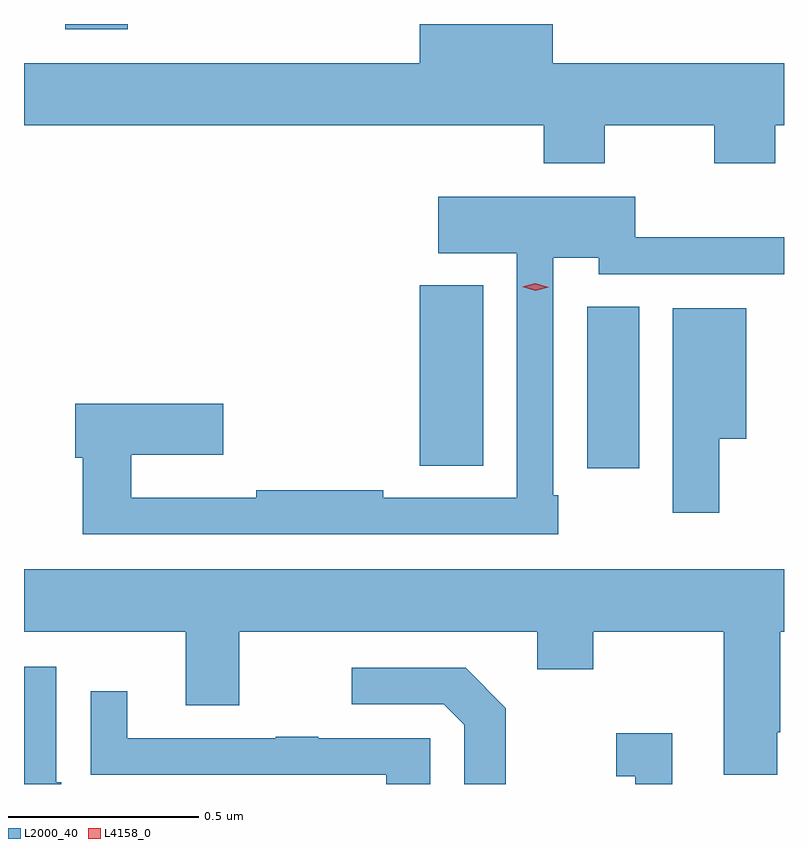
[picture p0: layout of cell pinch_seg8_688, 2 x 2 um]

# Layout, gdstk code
import gdstk
lib = gdstk.Library(unit=1e-6, precision=1e-09)
def R(c, l, rs):  # rectangles x0, y0, x1, y1
    for r in rs: c.add(gdstk.rectangle(r[:2], r[2:], *l))
def P(c, l, *ps):  # polygons
    for p in ps: c.add(gdstk.Polygon(p, *l))
L2000_40 = (2000, 40)
L4158_0 = (4158, 0)

pinch_seg8_688 = lib.new_cell('pinch_seg8_688')
R(pinch_seg8_688, L2000_40, [(247.943,1108.938,248.08,1109.363), (247.502,1108.945,247.669,1109.419), (246.569,1110.093,246.734,1110.107)])
P(pinch_seg8_688, L2000_40, [(247.989,1109.84),(248.278,1109.84),(248.278,1109.741),(248.438,1109.741),(248.438,1109.84),(248.461,1109.84),(248.461,1110.004),(247.852,1110.004),(247.852,1110.107),(247.502,1110.107),(247.502,1110.004),(246.461,1110.004),(246.461,1109.84),(247.829,1109.84),(247.829,1109.741),(247.989,1109.741)],
  [(247.867,1108.867),(247.854,1108.867),(247.854,1109.492),(247.974,1109.492),(247.974,1109.448),(248.461,1109.448),(248.461,1109.546),(248.07,1109.546),(248.07,1109.653),(247.551,1109.653),(247.551,1109.504),(247.758,1109.504),(247.758,1108.86),(247.406,1108.86),(247.406,1108.88),(247.072,1108.88),(247.072,1108.86),(246.743,1108.86),(246.743,1108.973),(246.985,1108.973),(246.985,1109.108),(246.596,1109.108),(246.596,1108.966),(246.615,1108.966),(246.615,1108.764),(247.867,1108.764)],
  [(248.29,1109.015),(248.362,1109.015),(248.362,1109.359),(248.168,1109.359),(248.168,1108.821),(248.29,1108.821)],
  [(248.443,1108.243),(248.451,1108.243),(248.451,1108.508),(248.461,1108.508),(248.461,1108.672),(246.461,1108.672),(246.461,1108.508),(246.887,1108.508),(246.887,1108.314),(247.027,1108.314),(247.027,1108.508),(247.811,1108.508),(247.811,1108.409),(247.959,1108.409),(247.959,1108.508),(248.303,1108.508),(248.303,1108.131),(248.443,1108.131)],
  [(246.559,1108.111),(246.546,1108.111),(246.546,1108.416),(246.461,1108.416),(246.461,1108.107),(246.559,1108.107)],
  [(247.729,1108.307),(247.623,1108.413),(247.323,1108.413),(247.323,1108.317),(247.566,1108.317),(247.62,1108.263),(247.62,1108.107),(247.729,1108.107)],
  [(247.53,1108.227),(247.235,1108.227),(247.235,1108.232),(247.123,1108.232),(247.123,1108.227),(246.733,1108.227),(246.733,1108.351),(246.637,1108.351),(246.637,1108.132),(246.739,1108.132),(246.739,1108.131),(247.414,1108.131),(247.414,1108.107),(247.53,1108.107)],
  [(248.167,1108.24),(248.019,1108.24),(248.019,1108.127),(248.07,1108.127),(248.07,1108.107),(248.167,1108.107)])
P(pinch_seg8_688, L4158_0, [(247.807,1109.405),(247.772,1109.415),(247.772,1109.415),(247.772,1109.416),(247.807,1109.425),(247.842,1109.414),(247.842,1109.414),(247.842,1109.414)])

lib.write_gds('pinch_seg8_688.gds')
